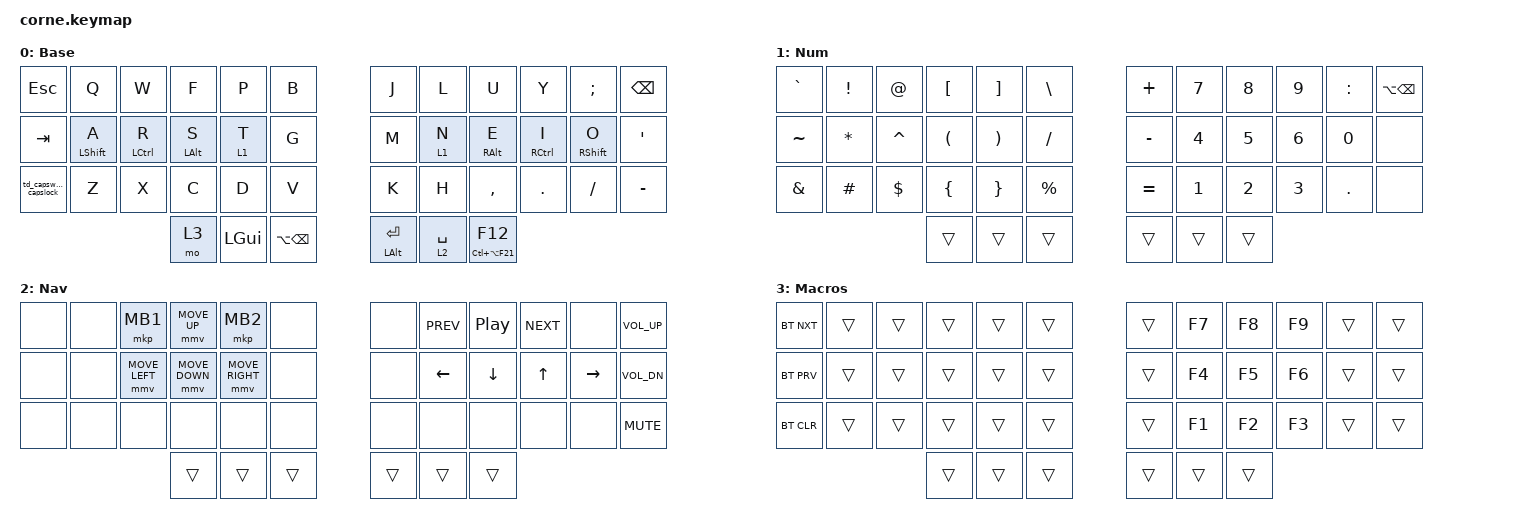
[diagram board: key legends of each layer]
/*
 * Copyright (c) 2020 The ZMK Contributors
 *
 * SPDX-License-Identifier: MIT
 */

#include <behaviors.dtsi>
#include <dt-bindings/zmk/bt.h>
#include <dt-bindings/zmk/keys.h>
#include <dt-bindings/zmk/pointing.h>

/ {
    behaviors {
        HML_layer: HML_layer {
            compatible = "zmk,behavior-hold-tap";
            label = "HML_LAYER";
            bindings = <&mo>, <&kp>;

            #binding-cells = <2>;
            tapping-term-ms = <280>;
            quick-tap-ms = <200>;
            flavor = "balanced";
            hold-trigger-key-positions = <0 1 2 3 4 5 15 12 13 14 15 16 17 24 25 26 24 25 26 28 29 27>;
            hold-trigger-on-release;
        };

        HMR_layer: HMR_layer {
            compatible = "zmk,behavior-hold-tap";
            label = "HMR_LAYER";
            bindings = <&mo>, <&kp>;

            #binding-cells = <2>;
            tapping-term-ms = <280>;
            quick-tap-ms = <200>;
            flavor = "balanced";
            hold-trigger-key-positions = <6 7 8 9 10 11 18 19 20 21 22 23 30 31 32 33 34 35>;
            hold-trigger-on-release;
        };

        HML_kp: HML_kp {
            compatible = "zmk,behavior-hold-tap";
            label = "HML_KP";
            bindings = <&kp>, <&kp>;

            #binding-cells = <2>;
            tapping-term-ms = <280>;
            quick-tap-ms = <200>;
            flavor = "balanced";
            hold-trigger-key-positions = <0 1 2 3 4 5 15 12 13 14 15 16 17 24 25 26 24 25 26 28 29 27 6 7 18 19 20 30 31 32 8>;
            hold-trigger-on-release;
            require-prior-idle-ms = <150>;
        };

        HMR_kp: HMR_kp {
            compatible = "zmk,behavior-hold-tap";
            label = "HMR_KP";
            bindings = <&kp>, <&kp>;

            #binding-cells = <2>;
            tapping-term-ms = <280>;
            quick-tap-ms = <200>;
            flavor = "balanced";
            hold-trigger-key-positions = <6 7 8 9 10 11 18 19 20 21 22 23 30 31 32 33 34 35 39 3 4 5 15 16 17 27 28 29>;
            hold-trigger-on-release;
            require-prior-idle-ms = <150>;
        };

        td_capsword_capslock: td_capsword_capslock {
            compatible = "zmk,behavior-tap-dance";
            label = "TD_CAPSWORD_CAPSLOCK";
            #binding-cells = <0>;
            bindings = <&caps_word>, <&kp CAPSLOCK>;
        };
    };

    keymap {
        compatible = "zmk,keymap";

        default_layer {
            // -----------------------------------------------------------------------------------------
            // |  ESC |  Q  |  W  |  F  |  P  |  B  |   |  J  |  L  |  U  |  Y  |  ;  | BKSP |
            // | TAB  | A/⇧ | R/^ | S/⌥ | T/L1|  G  |   |  M  | N/L1| E/⌥ | I/^ | O/⇧ |  '   |
            // |CAPS/CW| Z  |  X  |  C  |  D  |  V  |   |  K  |  H  |  ,  |  .  |  /  |  -   |
            //                    | MO3 | GUI | ENT |   |ENT/⌥|SPC/L2|F12/^⌥|

            display-name = "Base";
            bindings = <
&kp ESC                &kp Q                 &kp W            &kp F               &kp P           &kp B                &kp J               &kp L           &kp U                &kp Y            &kp SEMICOLON          &kp BSPC
&kp TAB                &HMR_kp LEFT_SHIFT A  &HMR_kp LCTRL R  &HMR_kp LEFT_ALT S  &HMR_layer 1 T  &kp G                &kp M               &HML_layer 1 N  &HML_kp RIGHT_ALT E  &HML_kp RCTRL I  &HML_kp RIGHT_SHIFT O  &kp SQT
&td_capsword_capslock  &kp Z                 &kp X            &kp C               &kp D           &kp V                &kp K               &kp H           &kp COMMA            &kp DOT          &kp FSLH               &kp MINUS
                                                              &mo 3               &kp LGUI        &kp LA(BACKSPACE)    &mt LEFT_ALT ENTER  &lt 2 SPACE     &mt LC(LA(F21)) F12
            >;
        };

        symbols_numpad {
            // -----------------------------------------------------------------------------------------
            // |  `  |  !  |  @  |  }  |  {  |  \  |   |  -  |  7  |  8  |  9  |  :  |A+BKSP|
            // |  ~  |  *  |  ^  |  )  |  (  |  /  |   |  +  |  4  |  5  |  6  |  0  |      |
            // |  &  |  #  |  $  |  ]  |  [  |  %  |   |  =  |  1  |  2  |  3  |  .  |      |
            //                   |trans|trans|trans|   |trans|trans|trans|

            display-name = "Num";
            bindings = <
&kp GRAVE      &kp EXCLAMATION  &kp AT      &kp LEFT_BRACKET      &kp RIGHT_BRACKET      &kp BACKSLASH    &kp PLUS   &kp NUMBER_7  &kp NUMBER_8  &kp NUMBER_9  &kp COLON     &kp LA(BSPC)
&kp TILDE      &kp ASTERISK     &kp CARET   &kp LEFT_PARENTHESIS  &kp RIGHT_PARENTHESIS  &kp SLASH        &kp MINUS  &kp NUMBER_4  &kp NUMBER_5  &kp NUMBER_6  &kp NUMBER_0  &none
&kp AMPERSAND  &kp HASH         &kp DOLLAR  &kp LEFT_BRACE        &kp RIGHT_BRACE        &kp PERCENT      &kp EQUAL  &kp NUMBER_1  &kp NUMBER_2  &kp NUMBER_3  &kp DOT       &none
                                            &trans                &trans                 &trans           &trans     &trans        &trans
            >;
        };

        navigation {
            // -----------------------------------------------------------------------------------------
            // |BT_NXT|     |MB1  |MOVE↑|MB2  |     |   |     |     |     |     |     |VOL+ |
            // |BT_PRV|     |MOVE←|MOVE↓|MOVE→|     |   |     |LEFT |DOWN |UP   |RIGHT|VOL- |
            // |BT_CLR|     |     |     |     |     |   |     |     |     |     |     |MUTE |
            //                    |trans|trans|trans|   |trans|trans|trans|            

            display-name = "Nav";
            bindings = <
&none  &none  &mkp MB1        &mmv MOVE_UP    &mkp MB2         &none     &none   &kp C_PREV  &kp C_PLAY_PAUSE  &kp C_NEXT    &none      &kp C_VOL_UP
&none  &none  &mmv MOVE_LEFT  &mmv MOVE_DOWN  &mmv MOVE_RIGHT  &none     &none   &kp LEFT    &kp DOWN          &kp UP_ARROW  &kp RIGHT  &kp C_VOL_DN
&none  &none  &none           &none           &none            &none     &none   &none       &none             &none         &none      &kp C_MUTE
                              &trans          &trans           &trans    &trans  &trans      &trans
            >;
        };

        macros {
            bindings = <
&bt BT_NXT  &trans  &trans  &trans  &trans  &trans    &trans  &kp F7  &kp F8  &kp F9  &trans  &trans
&bt BT_PRV  &trans  &trans  &trans  &trans  &trans    &trans  &kp F4  &kp F5  &kp F6  &trans  &trans
&bt BT_CLR  &trans  &trans  &trans  &trans  &trans    &trans  &kp F1  &kp F2  &kp F3  &trans  &trans
                            &trans  &trans  &trans    &trans  &trans  &trans
            >;

            label = "Macros";
        };
    };
};
